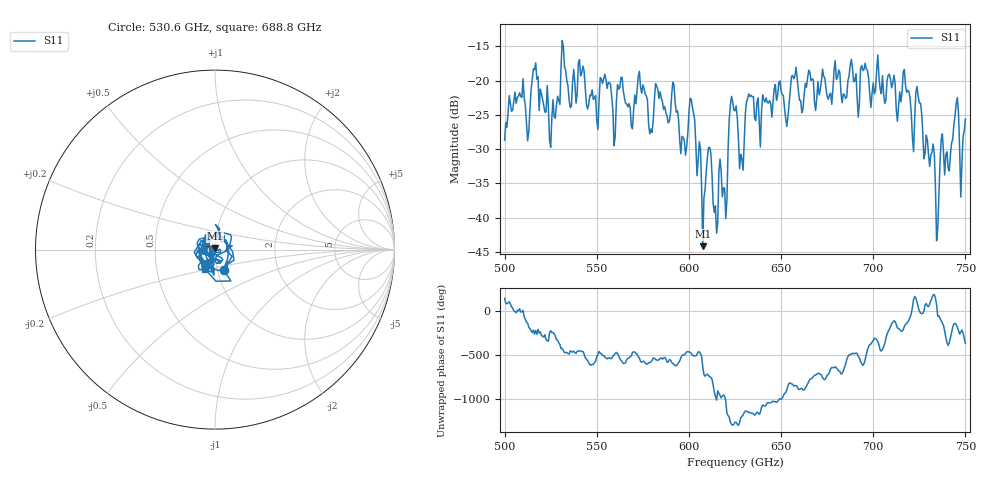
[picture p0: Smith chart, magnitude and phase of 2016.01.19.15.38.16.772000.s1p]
!Created with skrf (http://scikit-rf.org).
# GHz S RI R 50.0
!freq ReS11 ImS11
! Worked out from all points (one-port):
!   401 points, 500 GHz to 750 GHz, reference 50 ohm
!   lowest |S11| = -44.1 dB at 607.5 GHz (marker M1), VSWR 1.01, Z = 50 + j0.62 ohm
!   |S11| at or under -10 dB: start of sweep to end of sweep
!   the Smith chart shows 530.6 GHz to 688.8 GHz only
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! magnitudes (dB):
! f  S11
! 500 GHz  -28.7
! 508.8 GHz  -22.3
! 512.5 GHz  -28.8
! 516.9 GHz  -17.4
! 525.6 GHz  -25.4
! 531.2 GHz  -14.2
! 559.4 GHz  -29.5
! 562.5 GHz  -21.1
! 593.8 GHz  -24.4
! 596.9 GHz  -28.3
! 601.9 GHz  -23.9
! 607.5 GHz  -44.1
! 610.6 GHz  -29.8
! 614.4 GHz  -38.3
! 619.4 GHz  -35.7
! 622.5 GHz  -23.5
! 625 GHz  -24.4
! 628.8 GHz  -31.4
! 632.5 GHz  -22.0
! 653.1 GHz  -26.7
! 656.2 GHz  -19.3
! 687.5 GHz  -17.8
! 718.8 GHz  -21.4
! 725 GHz  -23.3
! 735 GHz  -41.6
! 745 GHz  -23.4
! 748.1 GHz  -32.0
! 750 GHz  -25.6
